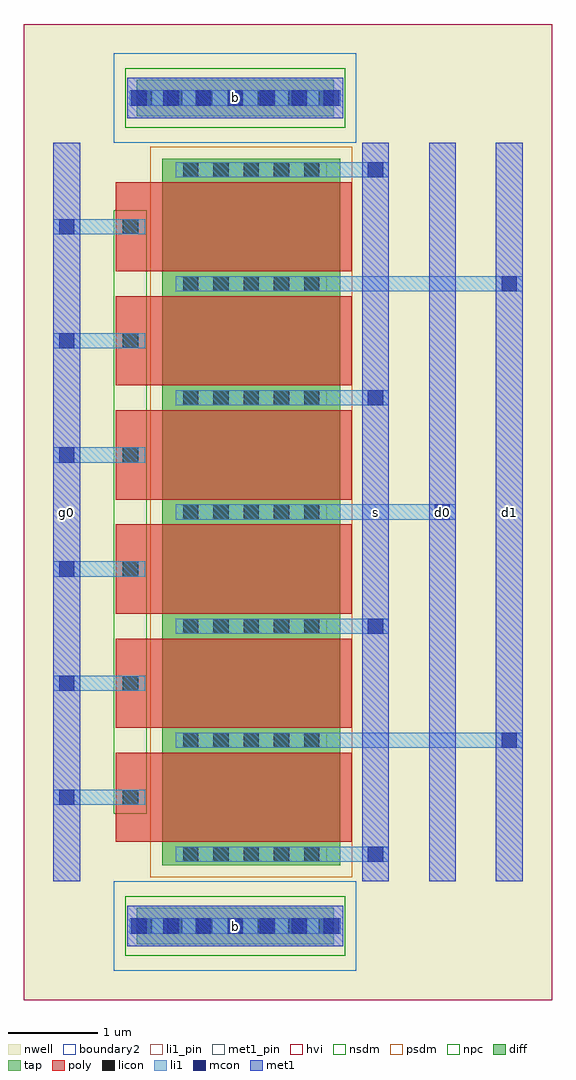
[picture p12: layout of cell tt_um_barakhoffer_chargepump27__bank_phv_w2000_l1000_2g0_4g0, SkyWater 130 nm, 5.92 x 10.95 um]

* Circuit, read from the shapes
.subckt tt_um_barakhoffer_chargepump27__bank_phv_w2000_l1000_2g0_4g0 b d0 d1 g0 s
XM1 d1 g0 s b sky130_fd_pr__pfet_g5v0d10v5 w=2 l=1 m=4
XM2 d0 g0 s b sky130_fd_pr__pfet_g5v0d10v5 w=2 l=1 m=2
.ends

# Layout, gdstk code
import gdstk
lib = gdstk.Library(unit=1e-6, precision=1e-09)
def R(c, l, rs):  # rectangles x0, y0, x1, y1
    for r in rs: c.add(gdstk.rectangle(r[:2], r[2:], *l))
def A(c, l, x, y, w, h, nx, ny, dx, dy):  # array of equal rectangles
    R(c, l, [(x+i*dx, y+j*dy, x+i*dx+w, y+j*dy+h) for i in range(nx) for j in range(ny)])
nwell = (64, 20)
diff = (65, 20)
tap = (65, 44)
poly = (66, 20)
licon = (66, 44)
li1_pin = (67, 16)
li1 = (67, 20)
mcon = (67, 44)
met1_pin = (68, 16)
met1 = (68, 20)
hvi = (75, 20)
nsdm = (93, 44)
psdm = (94, 20)
npc = (95, 20)
boundary2 = (236, 0)

tt_um_barakhoffer_charge = lib.new_cell('tt_um_barakhoffer_chargepump27__mos_21')
R(tt_um_barakhoffer_charge, nwell, [(-0.18,-0.18,2.18,8.11)])
A(tt_um_barakhoffer_charge, diff, 0.175, 0, 1.65, 0.25, 1, 7, 0, 1.28)
R(tt_um_barakhoffer_charge, diff, [(0,0,2,7.93)])
A(tt_um_barakhoffer_charge, poly, -0.52, 0.265, 0.33, 1, 1, 6, 0, 1.28)
A(tt_um_barakhoffer_charge, poly, -0.19, 0.265, 2.32, 1, 1, 6, 0, 1.28)
A(tt_um_barakhoffer_charge, poly, -0.52, 0.63, 0.33, 0.27, 1, 6, 0, 1.28)
A(tt_um_barakhoffer_charge, licon, 0.235, 0.04, 0.17, 0.17, 5, 7, 0.34, 1.28)
A(tt_um_barakhoffer_charge, licon, -0.44, 0.68, 0.17, 0.17, 1, 6, 0, 1.28)
A(tt_um_barakhoffer_charge, li1_pin, 0.155, 0.04, 1.69, 0.17, 1, 7, 0, 1.28)
A(tt_um_barakhoffer_charge, li1_pin, -0.52, 0.68, 0.33, 0.17, 1, 6, 0, 1.28)
R(tt_um_barakhoffer_charge, li1, [(0.155,0.04,1.845,0.21), (0.155,0.04,1.845,0.21), (-0.52,0.68,-0.19,0.85), (-0.52,0.68,-0.19,0.85), (0.155,1.32,1.845,1.49), (0.155,1.32,1.845,1.49), (-0.52,1.96,-0.19,2.13), (-0.52,1.96,-0.19,2.13), (0.155,2.6,1.845,2.77), (0.155,2.6,1.845,2.77), (-0.52,3.24,-0.19,3.41), (-0.52,3.24,-0.19,3.41), (0.155,3.88,1.845,4.05), (0.155,3.88,1.845,4.05), (-0.52,4.52,-0.19,4.69), (-0.52,4.52,-0.19,4.69), (0.155,5.16,1.845,5.33), (0.155,5.16,1.845,5.33), (-0.52,5.8,-0.19,5.97), (-0.52,5.8,-0.19,5.97), (0.155,6.44,1.845,6.61), (0.155,6.44,1.845,6.61), (-0.52,7.08,-0.19,7.25), (-0.52,7.08,-0.19,7.25), (0.155,7.72,1.845,7.89), (0.155,7.72,1.845,7.89)])
R(tt_um_barakhoffer_charge, hvi, [(-0.135,-0.135,2.135,8.065)])
R(tt_um_barakhoffer_charge, psdm, [(-0.135,-0.135,2.135,8.065)])
A(tt_um_barakhoffer_charge, npc, -0.54, 0.58, 0.37, 0.37, 1, 6, 0, 1.28)
R(tt_um_barakhoffer_charge, npc, [(-0.54,0.58,-0.17,7.35)])
tt_um_barakhoffer_charge.add(gdstk.Label('gate_5', (-0.355,7.165), layer=67, texttype=5))
tt_um_barakhoffer_charge.add(gdstk.Label('sd_0_6', (1,7.805), layer=67, texttype=5))
tt_um_barakhoffer_charge.add(gdstk.Label('sd_0_4', (1,5.245), layer=67, texttype=5))
tt_um_barakhoffer_charge.add(gdstk.Label('gate_2', (-0.355,3.325), layer=67, texttype=5))
tt_um_barakhoffer_charge.add(gdstk.Label('sd_0_0', (1,0.125), layer=67, texttype=5))
tt_um_barakhoffer_charge.add(gdstk.Label('gate_1', (-0.355,2.045), layer=67, texttype=5))
tt_um_barakhoffer_charge.add(gdstk.Label('sd_0_1', (1,1.405), layer=67, texttype=5))
tt_um_barakhoffer_charge.add(gdstk.Label('gate_3', (-0.355,4.605), layer=67, texttype=5))
tt_um_barakhoffer_charge.add(gdstk.Label('sd_0_2', (1,2.685), layer=67, texttype=5))
tt_um_barakhoffer_charge.add(gdstk.Label('gate_0', (-0.355,0.765), layer=67, texttype=5))
tt_um_barakhoffer_charge.add(gdstk.Label('gate_4', (-0.355,5.885), layer=67, texttype=5))
tt_um_barakhoffer_charge.add(gdstk.Label('sd_0_3', (1,3.965), layer=67, texttype=5))
tt_um_barakhoffer_charge.add(gdstk.Label('sd_0_5', (1,6.525), layer=67, texttype=5))

c_tt_um_barakhoffer_charge = lib.new_cell('tt_um_barakhoffer_chargepump27__bank_phv_w2000_l1000_2g0_4g0')
R(c_tt_um_barakhoffer_charge, nwell, [(-1.01,-0.33,4.915,10.62)])
R(c_tt_um_barakhoffer_charge, tap, [(0.255,0.295,2.465,0.705), (0.255,9.585,2.465,9.995)])
A(c_tt_um_barakhoffer_charge, licon, 0.255, 0.415, 0.17, 0.17, 7, 2, 0.34, 9.29)
A(c_tt_um_barakhoffer_charge, li1, 0.695, 1.22, 2.39, 0.17, 1, 4, 0, 2.56)
A(c_tt_um_barakhoffer_charge, li1, 2.85, 1.22, 0.17, 0.17, 1, 4, 0, 2.56)
A(c_tt_um_barakhoffer_charge, li1, -0.68, 1.86, 1.03, 0.17, 1, 6, 0, 1.28)
A(c_tt_um_barakhoffer_charge, li1, -0.615, 1.86, 0.17, 0.17, 1, 6, 0, 1.28)
R(c_tt_um_barakhoffer_charge, li1, [(0.175,0.415,2.545,0.585), (0.195,0.415,2.525,0.585), (0.695,2.5,4.585,2.67), (4.35,2.5,4.52,2.67), (0.695,5.06,3.835,5.23), (3.6,5.06,3.77,5.23), (0.695,7.62,4.585,7.79), (4.35,7.62,4.52,7.79), (0.175,9.705,2.545,9.875), (0.195,9.705,2.525,9.875)])
A(c_tt_um_barakhoffer_charge, mcon, 0.195, 0.415, 0.17, 0.17, 7, 2, 0.36, 9.29)
A(c_tt_um_barakhoffer_charge, mcon, 2.85, 1.22, 0.17, 0.17, 1, 4, 0, 2.56)
A(c_tt_um_barakhoffer_charge, mcon, -0.615, 1.86, 0.17, 0.17, 1, 6, 0, 1.28)
R(c_tt_um_barakhoffer_charge, mcon, [(4.35,2.5,4.52,2.67), (3.6,5.06,3.77,5.23), (4.35,7.62,4.52,7.79)])
A(c_tt_um_barakhoffer_charge, met1_pin, 2.785, 1, 0.3, 8.29, 3, 1, 0.75, 0)
R(c_tt_um_barakhoffer_charge, met1_pin, [(0.15,0.275,2.57,0.725), (-0.68,1,-0.38,9.29), (0.15,9.565,2.57,10.015)])
A(c_tt_um_barakhoffer_charge, met1, 2.79, 1.19, 0.29, 0.23, 1, 4, 0, 2.56)
A(c_tt_um_barakhoffer_charge, met1, -0.675, 1.83, 0.29, 0.23, 1, 6, 0, 1.28)
R(c_tt_um_barakhoffer_charge, met1, [(0.15,0.275,2.57,0.725), (0.15,0.275,2.57,0.725), (0.165,0.355,2.555,0.645), (-0.68,1,-0.38,9.29), (-0.68,1,-0.38,9.29), (2.785,1,3.085,9.29), (2.785,1,3.085,9.29), (3.535,1,3.835,9.29), (3.535,1,3.835,9.29), (4.285,1,4.585,9.29), (4.285,1,4.585,9.29), (4.29,2.47,4.58,2.7), (3.54,5.03,3.83,5.26), (4.29,7.59,4.58,7.82), (0.15,9.565,2.57,10.015), (0.15,9.565,2.57,10.015), (0.165,9.645,2.555,9.935)])
R(c_tt_um_barakhoffer_charge, hvi, [(-1.01,-0.33,4.915,10.62)])
R(c_tt_um_barakhoffer_charge, nsdm, [(0.125,0.165,2.595,0.835), (0.125,9.455,2.595,10.125)])
R(c_tt_um_barakhoffer_charge, boundary2, [(0,0,2.72,1), (0,9.29,2.72,10.29)])
c_tt_um_barakhoffer_charge.add(gdstk.Reference(tt_um_barakhoffer_charge, (0.54,1.18)))
c_tt_um_barakhoffer_charge.add(gdstk.Label('s', (2.935,5.145), layer=68, texttype=5))
c_tt_um_barakhoffer_charge.add(gdstk.Label('d0', (3.685,5.145), layer=68, texttype=5))
c_tt_um_barakhoffer_charge.add(gdstk.Label('g0', (-0.53,5.145), layer=68, texttype=5))
c_tt_um_barakhoffer_charge.add(gdstk.Label('d1', (4.435,5.145), layer=68, texttype=5))
c_tt_um_barakhoffer_charge.add(gdstk.Label('b', (1.36,0.5), layer=68, texttype=5))
c_tt_um_barakhoffer_charge.add(gdstk.Label('b', (1.36,9.79), layer=68, texttype=5))

lib.write_gds('tt_um_barakhoffer_chargepump27__bank_phv_w2000_l1000_2g0_4g0.gds')
